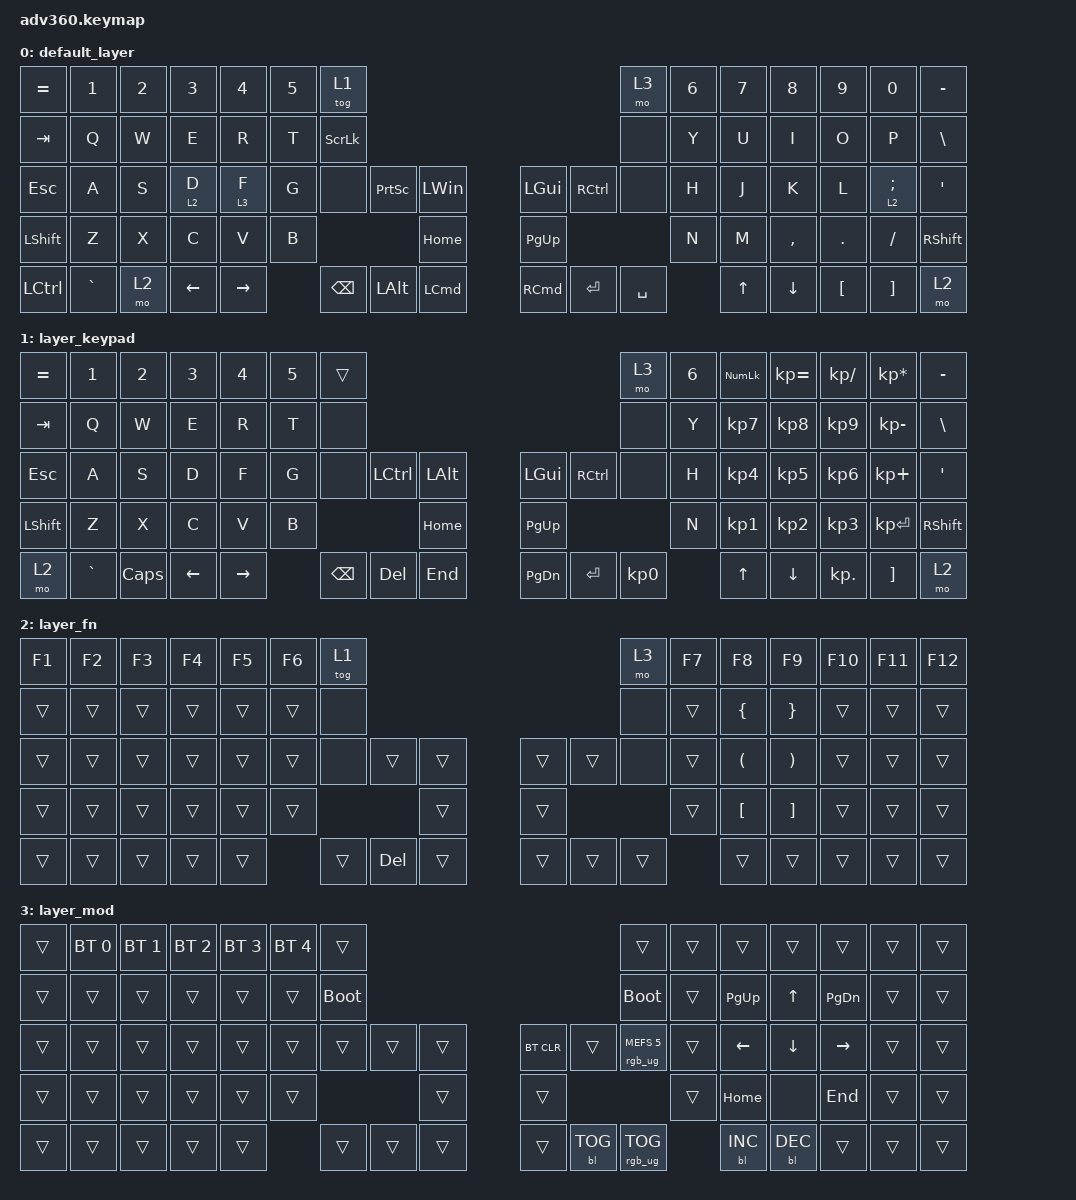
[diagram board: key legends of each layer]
/*
 * Copyright (c) 2020 The ZMK Contributors
 *
 * SPDX-License-Identifier: MIT
 */
/* THIS FILE WAS GENERATED!
 *
 * This file was generated automatically. You may or may not want to
 * edit it directly.
 */

#include <behaviors.dtsi>
#include <dt-bindings/zmk/backlight.h>
#include <dt-bindings/zmk/bt.h>
#include <dt-bindings/zmk/keys.h>
#include <dt-bindings/zmk/rgb.h>

/ {
    behaviors {
        #include "macros.dtsi"
    #include "version.dtsi"

        hm: homerow_mods {
            compatible = "zmk,behavior-hold-tap";
            label = "HOMEROW_MODS";
            #binding-cells = <2>;
            tapping-term-ms = <200>;
            quick_tap_ms = <175>;
            flavor = "tap-preferred";
            bindings = <&kp>, <&kp>;
        };
    };

    keymap {
        compatible = "zmk,keymap";

        default_layer {
            bindings = <
&kp EQUAL  &kp N1     &kp N2  &kp N3    &kp N4     &kp N5  &tog 1                                                                               &mo 3      &kp N6  &kp N7  &kp N8     &kp N9    &kp N0           &kp MINUS
&kp TAB    &kp Q      &kp W   &kp E     &kp R      &kp T   &kp SCROLLLOCK                                                                       &none      &kp Y   &kp U   &kp I      &kp O     &kp P            &kp BSLH
&kp ESC    &kp A      &kp S   &lt 2 D   &lt 3 F    &kp G   &none           &kp PRINTSCREEN  &kp LEFT_WIN          &kp LGUI           &kp RCTRL  &none      &kp H   &kp J   &kp K      &kp L     &lt 2 SEMICOLON  &kp SQT
&kp LSHFT  &kp Z      &kp X   &kp C     &kp V      &kp B                                    &kp HOME              &kp PG_UP                                &kp N   &kp M   &kp COMMA  &kp DOT   &kp FSLH         &kp RSHFT
&kp LCTRL  &kp GRAVE  &mo 2   &kp LEFT  &kp RIGHT          &kp BSPC        &kp LEFT_ALT     &kp LEFT_COMMAND      &kp RIGHT_COMMAND  &kp ENTER  &kp SPACE          &kp UP  &kp DOWN   &kp LBKT  &kp RBKT         &mo 2
            >;
        };

        layer_keypad {
            bindings = <
&kp EQUAL  &kp N1     &kp N2    &kp N3    &kp N4     &kp N5  &trans                                                   &mo 3      &kp N6  &kp KP_NUM  &kp KP_EQUAL  &kp KP_DIVIDE  &kp KP_MULTIPLY  &kp MINUS
&kp TAB    &kp Q      &kp W     &kp E     &kp R      &kp T   &none                                                    &none      &kp Y   &kp KP_N7   &kp KP_N8     &kp KP_N9      &kp KP_MINUS     &kp BSLH
&kp ESC    &kp A      &kp S     &kp D     &kp F      &kp G   &none     &kp LCTRL  &kp LALT      &kp LGUI   &kp RCTRL  &none      &kp H   &kp KP_N4   &kp KP_N5     &kp KP_N6      &kp KP_PLUS      &kp SQT
&kp LSHFT  &kp Z      &kp X     &kp C     &kp V      &kp B                        &kp HOME      &kp PG_UP                        &kp N   &kp KP_N1   &kp KP_N2     &kp KP_N3      &kp KP_ENTER     &kp RSHFT
&mo 2      &kp GRAVE  &kp CAPS  &kp LEFT  &kp RIGHT          &kp BSPC  &kp DEL    &kp END       &kp PG_DN  &kp ENTER  &kp KP_N0          &kp UP      &kp DOWN      &kp KP_DOT     &kp RBKT         &mo 2
            >;
        };

        layer_fn {
            bindings = <
&kp F1  &kp F2  &kp F3  &kp F4  &kp F5  &kp F6  &tog 1                                          &mo 3   &kp F7  &kp F8                &kp F9                 &kp F10  &kp F11  &kp F12
&trans  &trans  &trans  &trans  &trans  &trans  &none                                           &none   &trans  &kp LEFT_BRACE        &kp RIGHT_BRACE        &trans   &trans   &trans
&trans  &trans  &trans  &trans  &trans  &trans  &none   &trans      &trans      &trans  &trans  &none   &trans  &kp LEFT_PARENTHESIS  &kp RIGHT_PARENTHESIS  &trans   &trans   &trans
&trans  &trans  &trans  &trans  &trans  &trans                      &trans      &trans                  &trans  &kp LEFT_BRACKET      &kp RIGHT_BRACKET      &trans   &trans   &trans
&trans  &trans  &trans  &trans  &trans          &trans  &kp DELETE  &trans      &trans  &trans  &trans          &trans                &trans                 &trans   &trans   &trans
            >;
        };

        layer_mod {
            bindings = <
&trans  &bt BT_SEL 0  &bt BT_SEL 1  &bt BT_SEL 2  &bt BT_SEL 3  &bt BT_SEL 4  &trans                                                   &trans                  &trans  &trans          &trans          &trans           &trans  &trans
&trans  &trans        &trans        &trans        &trans        &trans        &bootloader                                              &bootloader             &trans  &kp PAGE_UP     &kp UP_ARROW    &kp PAGE_DOWN    &trans  &trans
&trans  &trans        &trans        &trans        &trans        &trans        &trans       &trans  &trans      &bt BT_CLR  &trans      &rgb_ug RGB_MEFS_CMD 5  &trans  &kp LEFT_ARROW  &kp DOWN_ARROW  &kp RIGHT_ARROW  &trans  &trans
&trans  &trans        &trans        &trans        &trans        &trans                             &trans      &trans                                          &trans  &kp HOME        &none           &kp END          &trans  &trans
&trans  &trans        &trans        &trans        &trans                      &trans       &trans  &trans      &trans      &bl BL_TOG  &rgb_ug RGB_TOG                 &bl BL_INC      &bl BL_DEC      &trans           &trans  &trans
            >;
        };
    };
};
